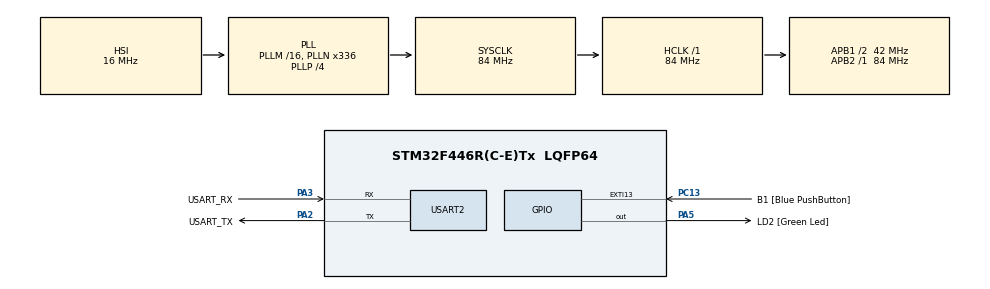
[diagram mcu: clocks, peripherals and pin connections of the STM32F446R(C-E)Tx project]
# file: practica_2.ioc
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Mcu.Family=STM32F4
Mcu.Name=STM32F446R(C-E)Tx
Mcu.Package=LQFP64
NVIC.PriorityGroup=NVIC_PRIORITYGROUP_0
PA13.GPIO_Label=TMS
PA13.Mode=Serial_Wire
PA13.Signal=SYS_JTMS-SWDIO
PA14.GPIO_Label=TCK
PA14.Mode=Serial_Wire
PA14.Signal=SYS_JTCK-SWCLK
PA2.GPIO_Label=USART_TX
PA2.Mode=Asynchronous
PA2.Signal=USART2_TX
PA3.GPIO_Label=USART_RX
PA3.Mode=Asynchronous
PA3.Signal=USART2_RX
PA5.GPIO_Label=LD2 [Green Led]
PA5.Signal=GPIO_Output
PB3.GPIO_Label=SWO
PB3.Signal=SYS_JTDO-SWO
PC13.GPIO_Label=B1 [Blue PushButton]
PC13.GPIO_ModeDefaultEXTI=GPIO_MODE_IT_FALLING
PC13.Signal=GPXTI13
PC14-OSC32_IN.Mode=LSE-External-Oscillator
PC14-OSC32_IN.Signal=RCC_OSC32_IN
PC15-OSC32_OUT.Mode=LSE-External-Oscillator
PC15-OSC32_OUT.Signal=RCC_OSC32_OUT
PH0-OSC_IN.Mode=HSE-External-Oscillator
PH0-OSC_IN.Signal=RCC_OSC_IN
PH1-OSC_OUT.Mode=HSE-External-Oscillator
PH1-OSC_OUT.Signal=RCC_OSC_OUT
ProjectManager.HeapSize=0x200
ProjectManager.StackSize=0x400
ProjectManager.TargetToolchain=STM32CubeIDE
RCC.48MHZClocksFreq_Value=84000000
RCC.AHBFreq_Value=84000000
RCC.APB1CLKDivider=RCC_HCLK_DIV2
RCC.APB1Freq_Value=42000000
RCC.APB1TimFreq_Value=84000000
RCC.APB2Freq_Value=84000000
RCC.APB2TimFreq_Value=84000000
RCC.CortexFreq_Value=84000000
RCC.FLatency-AdvancedSettings=FLASH_LATENCY_2
RCC.HCLKFreq_Value=84000000
RCC.HSE_VALUE=8000000
RCC.HSI_VALUE=16000000
RCC.PLLN=336
RCC.PLLP=RCC_PLLP_DIV4
RCC.SYSCLKFreq_VALUE=84000000
RCC.SYSCLKSource=RCC_SYSCLKSOURCE_PLLCLK
RCC.USBFreq_Value=168000000
RCC.VCOOutputFreq_Value=336000000
USART2.VirtualMode=VM_ASYNC
board=NUCLEO-F446RE

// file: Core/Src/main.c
/* USER CODE BEGIN Header */
/**
 ******************************************************************************
 * @file           : main.c
 * @brief          : Main program body
 ******************************************************************************
 * @attention
 *
 * Copyright (c) 2025 STMicroelectronics.
 * All rights reserved.
 *
 * This software is licensed under terms that can be found in the LICENSE file
 * in the root directory of this software component.
 * If no LICENSE file comes with this software, it is provided AS-IS.
 *
 ******************************************************************************
 */
/* USER CODE END Header */
#include "main.h"

/* USER CODE BEGIN PD */

#define BLINK_REPEATS_PER_STEP 5U
#define BLINK_DUTY_CYCLE_PCT 50U

/* USER CODE END PD */

UART_HandleTypeDef huart2;

/* USER CODE BEGIN PV */

/* Blink period sequence in ms. Each entry is held for BLINK_REPEATS_PER_STEP full cycles
 * before advancing to the next. Add or remove entries freely (the length is computed
 * automatically). */
static const tick_t blink_durations[] = {
    1000,
    200,
    100,
};

/* USER CODE END PV */

void SystemClock_Config(void);
static void MX_GPIO_Init(void);
static void MX_USART2_UART_Init(void);
/* USER CODE BEGIN PFP */

void delayInit(delay_t *delay, tick_t duration) {
  if (delay == NULL || duration == 0) {
    return;
  }

  delay->startTime = 0;
  delay->duration = duration;
  delay->running = false;
}

bool_t delayRead(delay_t *delay) {
  if (delay == NULL) {
    return false;
  }

  // If the delay is not running, start it and return false immediately
  if (!delay->running) {
    delay->startTime = HAL_GetTick();
    delay->running = true;

    return false;
  }

  // If the delay is running, check if the duration has elapsed
  if (HAL_GetTick() - delay->startTime >= delay->duration) {
    delay->running = false;

    return true;
  }

  return false;
}

void delayWrite(delay_t *delay, tick_t duration) {
  if (delay == NULL || duration == 0) {
    return;
  }

  delay->duration = duration;
}

void blinkPatternInit(blink_pattern_t *bp, const tick_t durations[], uint8_t durations_len,
                      uint8_t repeats_per_step, uint8_t duty_cycle) {

  if (bp == NULL || durations == NULL || durations_len == 0 || duty_cycle > 100 ||
      repeats_per_step == 0) {
    return;
  }

  bp->durations = durations;
  bp->durations_len = durations_len;
  bp->repeats_per_step = repeats_per_step;
  bp->duty_cycle = duty_cycle;
  bp->counter = 0;
  bp->position = 0;
  bp->high = false;
  // Calculate the initial high time based on the first duration and duty cycle
  bp->millis_high = (durations[0] * duty_cycle) / 100u;
}

tick_t blinkPatternStep(blink_pattern_t *bp) {
  if (bp == NULL) {
    return 0;
  }

  // If the output is currently high, return the low time
  if (bp->high) {
    bp->high = false;

    return bp->durations[bp->position] - bp->millis_high;
  }

  // The output is low, switch to high and increment the repeats counter
  bp->counter++;
  bp->high = true;

  // If the repeats counter has reached the number of repeats per step, move to the next position
  // and pre-compute millis_high so it is ready for the immediately following ON phase.
  if (bp->counter % bp->repeats_per_step == 0) {
    bp->position = (bp->position + 1) % bp->durations_len;

    // Calculate the high time for the new position based on the duty cycle
    tick_t duration = bp->durations[bp->position];
    bp->millis_high = (duration * bp->duty_cycle) / 100u;
  }

  return bp->millis_high;
}

/* USER CODE END PFP */

int main(void) {

  /* MCU Configuration--------------------------------------------------------*/

  /* Reset of all peripherals, Initializes the Flash interface and the Systick. */
  HAL_Init();

  /* Configure the system clock */
  SystemClock_Config();

  /* Initialize all configured peripherals */
  MX_GPIO_Init();
  MX_USART2_UART_Init();
  /* USER CODE BEGIN 2 */

  delay_t delay;
  delayInit(&delay, blink_durations[0]);

  blink_pattern_t blink_pattern;
  blinkPatternInit(&blink_pattern, blink_durations,
                   sizeof(blink_durations) / sizeof(blink_durations[0]), BLINK_REPEATS_PER_STEP,
                   BLINK_DUTY_CYCLE_PCT);

  /* USER CODE END 2 */

  /* Infinite loop */
  while (1) {

    /* USER CODE BEGIN 3 */

    if (delayRead(&delay)) {
      HAL_GPIO_TogglePin(LD2_GPIO_Port, LD2_Pin);

      delayWrite(&delay, blinkPatternStep(&blink_pattern));
    }
  }
  /* USER CODE END 3 */
}

void SystemClock_Config(void) {
  RCC_OscInitTypeDef RCC_OscInitStruct = {0};
  RCC_ClkInitTypeDef RCC_ClkInitStruct = {0};

  /** Configure the main internal regulator output voltage
   */
  __HAL_RCC_PWR_CLK_ENABLE();
  __HAL_PWR_VOLTAGESCALING_CONFIG(PWR_REGULATOR_VOLTAGE_SCALE3);

  /** Initializes the RCC Oscillators according to the specified parameters
   * in the RCC_OscInitTypeDef structure.
   */
  RCC_OscInitStruct.OscillatorType = RCC_OSCILLATORTYPE_HSI;
  RCC_OscInitStruct.HSIState = RCC_HSI_ON;
  RCC_OscInitStruct.HSICalibrationValue = RCC_HSICALIBRATION_DEFAULT;
  RCC_OscInitStruct.PLL.PLLState = RCC_PLL_ON;
  RCC_OscInitStruct.PLL.PLLSource = RCC_PLLSOURCE_HSI;
  RCC_OscInitStruct.PLL.PLLM = 16;
  RCC_OscInitStruct.PLL.PLLN = 336;
  RCC_OscInitStruct.PLL.PLLP = RCC_PLLP_DIV4;
  RCC_OscInitStruct.PLL.PLLQ = 2;
  RCC_OscInitStruct.PLL.PLLR = 2;
  if (HAL_RCC_OscConfig(&RCC_OscInitStruct) != HAL_OK) {
    Error_Handler();
  }

  /** Initializes the CPU, AHB and APB buses clocks
   */
  RCC_ClkInitStruct.ClockType =
      RCC_CLOCKTYPE_HCLK | RCC_CLOCKTYPE_SYSCLK | RCC_CLOCKTYPE_PCLK1 | RCC_CLOCKTYPE_PCLK2;
  RCC_ClkInitStruct.SYSCLKSource = RCC_SYSCLKSOURCE_PLLCLK;
  RCC_ClkInitStruct.AHBCLKDivider = RCC_SYSCLK_DIV1;
  RCC_ClkInitStruct.APB1CLKDivider = RCC_HCLK_DIV2;
  RCC_ClkInitStruct.APB2CLKDivider = RCC_HCLK_DIV1;

  if (HAL_RCC_ClockConfig(&RCC_ClkInitStruct, FLASH_LATENCY_2) != HAL_OK) {
    Error_Handler();
  }
}

static void MX_USART2_UART_Init(void) {

  huart2.Instance = USART2;
  huart2.Init.BaudRate = 115200;
  huart2.Init.WordLength = UART_WORDLENGTH_8B;
  huart2.Init.StopBits = UART_STOPBITS_1;
  huart2.Init.Parity = UART_PARITY_NONE;
  huart2.Init.Mode = UART_MODE_TX_RX;
  huart2.Init.HwFlowCtl = UART_HWCONTROL_NONE;
  huart2.Init.OverSampling = UART_OVERSAMPLING_16;
  if (HAL_UART_Init(&huart2) != HAL_OK) {
    Error_Handler();
  }
}

static void MX_GPIO_Init(void) {
  GPIO_InitTypeDef GPIO_InitStruct = {0};

  /* GPIO Ports Clock Enable */
  __HAL_RCC_GPIOC_CLK_ENABLE();
  __HAL_RCC_GPIOH_CLK_ENABLE();
  __HAL_RCC_GPIOA_CLK_ENABLE();
  __HAL_RCC_GPIOB_CLK_ENABLE();

  /*Configure GPIO pin Output Level */
  HAL_GPIO_WritePin(LD2_GPIO_Port, LD2_Pin, GPIO_PIN_RESET);

  /*Configure GPIO pin : B1_Pin */
  GPIO_InitStruct.Pin = B1_Pin;
  GPIO_InitStruct.Mode = GPIO_MODE_IT_FALLING;
  GPIO_InitStruct.Pull = GPIO_NOPULL;
  HAL_GPIO_Init(B1_GPIO_Port, &GPIO_InitStruct);

  /*Configure GPIO pin : LD2_Pin */
  GPIO_InitStruct.Pin = LD2_Pin;
  GPIO_InitStruct.Mode = GPIO_MODE_OUTPUT_PP;
  GPIO_InitStruct.Pull = GPIO_NOPULL;
  GPIO_InitStruct.Speed = GPIO_SPEED_FREQ_LOW;
  HAL_GPIO_Init(LD2_GPIO_Port, &GPIO_InitStruct);
}

void Error_Handler(void) {
  __disable_irq();
  while (1) {
  }
}
